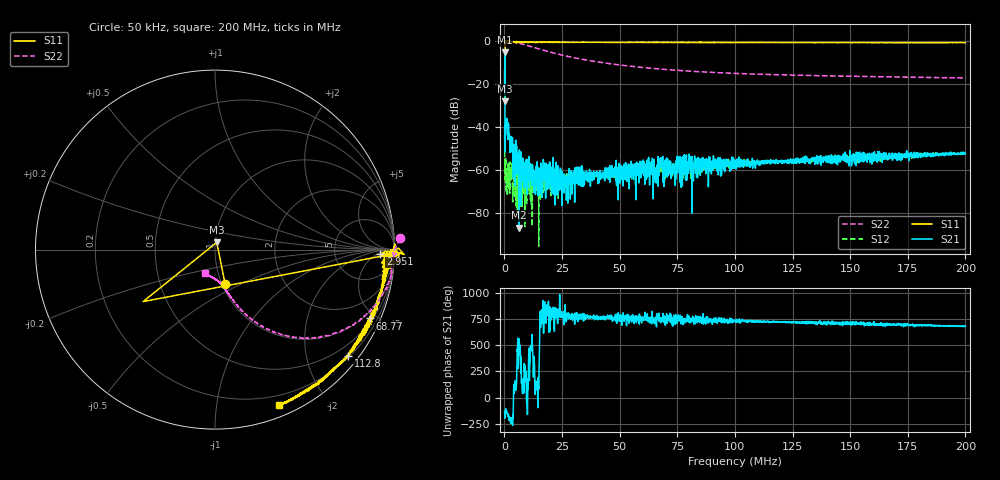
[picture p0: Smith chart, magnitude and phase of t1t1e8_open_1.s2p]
! 27-Aug-26 2:27:43 PM
! E:\20260827_VNA\T1T1E8_OPEN_1.S2P
! CHANNEL.1
! TR.MEASUREMENT
! CORRECTED.DATA
# GHZ S RI R 50.0
! FREQ.GHZ  S11RE  S11IM  S21RE  S21IM  S12RE  S12IM  S22RE  S22IM
!; PortSelection: Port_12
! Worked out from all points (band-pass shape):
!   2000 points, 50 kHz to 200 MHz, reference 50 ohm
!   highest |S21| = -5.10 dB at 150 kHz (marker M1); lowest = -86.6 dB at 6.352 MHz (marker M2)
!   |S21| within 3 dB of the highest: 130.4 kHz to 156.5 kHz (26.07 kHz wide, 18.2 % of centre)
!   lowest |S11| = -27.8 dB at 150 kHz (marker M3), VSWR 1.09, Z = 50.8 + j4.05 ohm
!   |S11| at or under -10 dB: start of sweep to 232.1 kHz
!   |S22| runs from -17.0 to 0.3 dB; largest |S21 - S12| = 0.56
!   S11 on the Smith chart (normalised r, x): 50 kHz: 1.04, -0.42; 2.951 MHz: 22, -7; 68.77 MHz: 0.67, -4.61; 112.8 MHz: 0.23, -2.84; 200 MHz: 0.11, -1.49
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5e-05  0.057 -0.1928  -0.0666 -0.0684  0.00121 0.0102  1.032 0.0623
0.000150025  0.00949 0.0398  -0.5469 0.1004  0.000839 -0.000239  0.9969 -0.00722
0.001350325  0.9871 -0.0223  -0.0123 -0.00327  -0.000644 0.000376  0.9826 -0.0973
0.002950725  0.9208 -0.0254  -0.00336 0.00499  0.000644 -0.000353  0.9624 -0.2091
0.004551126  0.989 -0.0233  0.000636 0.00248  -0.000235 -0.000106  0.9013 -0.2967
0.006351576  0.9665 -0.0449  -1.8e-06 4.7e-05  -0.000586 0.000331  0.821 -0.3817
0.01545385  0.9643 -0.0852  -5.24e-05 0.00108  6.79e-05 0.000453  0.4411 -0.488
0.01785445  0.9551 -0.1088  -7.25e-05 0.000213  8.86e-05 0.000528  0.3754 -0.4743
0.02595648  0.9545 -0.1477  0.000313 0.000764  0.000137 0.000707  0.2318 -0.4077
0.03345835  0.9344 -0.192  0.00108 0.00071  0.000646 0.000463  0.1608 -0.3518
0.04926231  0.9114 -0.2763  0.000536 0.000594  0.000685 0.00058  0.0924 -0.2714
0.05946486  0.8907 -0.3148  0.000813 -0.000136  0.000786 0.000437  0.0701 -0.2395
0.06536633  0.8783 -0.3543  0.000701 0.000192  0.001 0.000321  0.0612 -0.2254
0.06676668  0.8776 -0.3686  0.000476 0.00151  0.00102 0.000296  0.0587 -0.2227
0.06876718  0.8609 -0.3834  7.41e-05 0.000525  0.000745 0.000534  0.0575 -0.2187
0.07326831  0.8631 -0.4045  0.000787 0.000831  0.000998 0.000661  0.0496 -0.2102
0.07516878  0.8592 -0.4154  0.0018 0.00111  0.000944 7.57e-05  0.0478 -0.2079
0.100075  0.788 -0.5345  0.00147 0.000273  0.00133 0.000146  0.0226 -0.18
0.1127782  0.7432 -0.5918  0.0015 -1.27e-05  0.00155 2.34e-05  0.0125 -0.171
0.1333833  0.663 -0.668  0.00194 2.93e-05  0.00166 -0.000182  -0.00393 -0.1618
0.1666917  0.5117 -0.7818  0.00182 -0.000686  0.00208 -0.000686  -0.0296 -0.1474
0.2  0.3561 -0.8659  0.00193 -0.00154  0.00173 -0.00161  -0.0557 -0.1301
